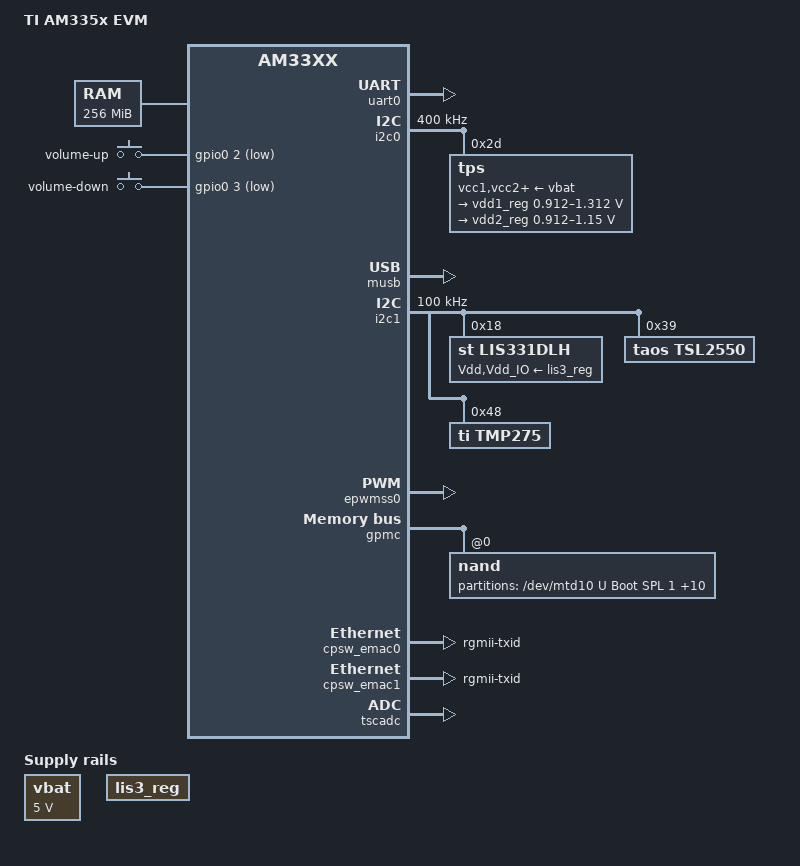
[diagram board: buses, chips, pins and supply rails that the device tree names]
/*
 * Copyright (C) 2012 Texas Instruments Incorporated - http://www.ti.com/
 *
 * This program is free software; you can redistribute it and/or modify
 * it under the terms of the GNU General Public License version 2 as
 * published by the Free Software Foundation.
 */
/dts-v1/;

#include "am33xx.dtsi"

/ {
	model = "TI AM335x EVM";
	compatible = "ti,am335x-evm", "ti,am33xx";

	cpus {
		cpu@0 {
			cpu0-supply = <&vdd1_reg>;
		};
	};

	memory {
		device_type = "memory";
		reg = <0x80000000 0x10000000>; /* 256 MB */
	};

	am33xx_pinmux: pinmux@44e10800 {
		pinctrl-names = "default";
		pinctrl-0 = <&clkout2_pin, &dcan1_pins, &usb1_pins>;

		usb0_pins: pinmux_usb0_pins {
			pinctrl-single,pins = <
				PAD_USB0_DRVVBUS__USB0_DRVVBUS		(PIN_OUTPUT_PULLDOWN | MUX_MODE0)
			>;
		};

		/* WTH is this actually for ? */
		usb1_pins: pinmux_usb1_pins {
			pinctrl-single,pins = <
				PAD_USB1_DRVVBUS__USB1_DRVVBUS		(PIN_INPUT | MUX_MODE7)
			>;
		};

		i2c0_pins: pinmux_i2c0_pins {
			pinctrl-single,pins = <
				PAD_I2C0_SDA__I2C0_SDA			(PIN_INPUT_PULLUP | MUX_MODE0)
				PAD_I2C0_SCL__I2C0_SCL			(PIN_INPUT_PULLUP | MUX_MODE0)
			>;
		};

		i2c1_pins: pinmux_i2c1_pins {
			pinctrl-single,pins = <
				PAD_UART1_CTSN__I2C1_SDA		(PIN_INPUT_PULLUP | SLEWCTRL_SLOW | MUX_MODE2)
				PAD_UART1_RTSN__I2C_SCL			(PIN_INPUT_PULLUP | SLEWCTRL_SLOW | MUX_MODE2)
			>;
		};

		dcan1_pins: pinmux_dcan1_pins {
			pinctrl-single,pins = <
				PAD_UART1_RXD__DCAN1_TX			(PIN_INPUT_PULLUP | MUX_MODE2)
				PAD_UART1_TXD__DCAN1_RX			(PIN_INPUT_PULLUP | MUX_MODE2)
			>;
		}

		/* Module pin mux for SPI flash */
		spi0_pins: spi0_pins {
			pinctrl-single,pins = <
				PAD_SPI0_SCLK__SPI0_SCLK		(PIN_INPUT_PULLDOWN | MUX_MODE0)
				PAD_SPI0_D0__SPI0_D0			(PIN_INPUT_PULLUP   | MUX_MODE0)
				PAD_SPI0_D1__SPI0_D1			(PIN_INPUT_PULLDOWN | MUX_MODE0)
				PAD_SPI0_CS0__SPI0_CS0			(PIN_INPUT_PULLUP   | MUX_MODE0)
			>;
		}

		uart0_pins: pinmux_uart0_pins {
			pinctrl-single,pins = <
				PAD_UART0_RXD__UART0_RXD		(PIN_INPUT_PULLUP    | MUX_MODE0)
				PAD_UART0_TXD__UART0_TXD		(PIN_OUTPUT_PULLDOWN | MUX_MODE0)
			>;
		};

		clkout2_pin: pinmux_clkout2_pin {
			pinctrl-single,pins = <
				PAD_XDMA_EVENT_INTR1__CLKOUT2		(PIN_OUTPUT_PULLDOWN | MUX_MODE3)
			>;
		};

		nandflash_pins_s0: nandflash_pins_s0 {
			pinctrl-single,pins = <
				PAD_GPMC_AD0__GPMC_AD0			(PIN_INPUT_PULLDOWN | MUX_MODE0)
				PAD_GPMC_AD1__GPMC_AD1			(PIN_INPUT_PULLDOWN | MUX_MODE0)
				PAD_GPMC_AD2__GPMC_AD2			(PIN_INPUT_PULLDOWN | MUX_MODE0)
				PAD_GPMC_AD3__GPMC_AD3			(PIN_INPUT_PULLDOWN | MUX_MODE0)
				PAD_GPMC_AD4__GPMC_AD4			(PIN_INPUT_PULLDOWN | MUX_MODE0)
				PAD_GPMC_AD5__GPMC_AD5			(PIN_INPUT_PULLDOWN | MUX_MODE0)
				PAD_GPMC_AD6__GPMC_AD6			(PIN_INPUT_PULLDOWN | MUX_MODE0)
				PAD_GPMC_AD7__GPMC_AD7			(PIN_INPUT_PULLDOWN | MUX_MODE0)
				PAD_GPMC_AD8__GPMC_AD8			(PIN_INPUT_PULLDOWN | MUX_MODE0)
				PAD_GPMC_AD9__GPMC_AD9			(PIN_INPUT_PULLDOWN | MUX_MODE0)
				PAD_GPMC_AD10__GPMC_AD10		(PIN_INPUT_PULLDOWN | MUX_MODE0)
				PAD_GPMC_AD11__GPMC_AD11		(PIN_INPUT_PULLDOWN | MUX_MODE0)
				PAD_GPMC_AD12__GPMC_AD12		(PIN_INPUT_PULLDOWN | MUX_MODE0)
				PAD_GPMC_AD13__GPMC_AD13		(PIN_INPUT_PULLDOWN | MUX_MODE0)
				PAD_GPMC_AD14__GPMC_AD14		(PIN_INPUT_PULLDOWN | MUX_MODE0)
				PAD_GPMC_AD15__GPMC_AD15		(PIN_INPUT_PULLDOWN | MUX_MODE0)

				PAD_GPMC_A0__GPMC_A0			(PIN_INPUT_PULLDOWN | MUX_MODE0)
				PAD_GPMC_A1__GPMC_A1			(PIN_INPUT_PULLDOWN | MUX_MODE0)
				PAD_GPMC_A2__GPMC_A2			(PIN_INPUT_PULLDOWN | MUX_MODE0)
				PAD_GPMC_A3__GPMC_A3			(PIN_INPUT_PULLDOWN | MUX_MODE0)
				PAD_GPMC_A4__GPMC_A4			(PIN_INPUT_PULLDOWN | MUX_MODE0)
				PAD_GPMC_A5__GPMC_A5			(PIN_INPUT_PULLDOWN | MUX_MODE0)
				PAD_GPMC_A6__GPMC_A6			(PIN_INPUT_PULLDOWN | MUX_MODE0)
				PAD_GPMC_A7__GPMC_A7			(PIN_INPUT_PULLDOWN | MUX_MODE0)
				PAD_GPMC_A8__GPMC_A8			(PIN_INPUT_PULLDOWN | MUX_MODE0)
				PAD_GPMC_A9__GPMC_A9			(PIN_INPUT_PULLDOWN | MUX_MODE0)
				PAD_GPMC_A10__GPMC_A10			(PIN_INPUT_PULLDOWN | MUX_MODE0)
				PAD_GPMC_A11__GPMC_A11			(PIN_INPUT_PULLDOWN | MUX_MODE0)

				PAD_GPMC_WAIT0__GPMC_WAIT0		(PIN_INPUT_PULLUP   | MUX_MODE0)
				PAD_GPMC_WPN__GPMC_WPN			(PIN_INPUT_PULLUP   | MUX_MODE0)

				PAD_GPMC_CSN0__GPMC_CSN0		(PIN_INPUT_PULLUP   | MUX_MODE0)
				PAD_GPMC_CSN1__GPMC_CSN1		(PIN_INPUT_PULLUP   | MUX_MODE0)
				PAD_GPMC_CSN2__GPMC_CSN2		(PIN_INPUT_PULLUP   | MUX_MODE0)
				PAD_GPMC_CSN3__GPMC_CSN3		(PIN_INPUT_PULLUP   | MUX_MODE0)

				PAD_GPMC_CLK__GPMC_CLK			(PIN_INPUT_PULLDOWN | MUX_MODE0)
				PAD_GPMC_ADVN_ALE__GMPC_ADVN_ALE	(PIN_INPUT_PULLUP   | MUX_MODE0)
				PAD_GPMC_OEN_REN__GMPC_OEN_REN		(PIN_INPUT_PULLUP   | MUX_MODE0)
				PAD_GPMC_WEN__GPMC_WEN			(PIN_INPUT_PULLUP   | MUX_MODE0)
				PAD_GPMC_BEN0_CLE__GPMC_BEN0_CLE	(PIN_INPUT_PULLUP   | MUX_MODE0)
			>;
		};

		ecap0_pins: backlight_pins {
			pinctrl-single,pins = <
				PAD_ECAP0_IN_PWM0_OUT__ECAP0_IN_PWM0_OUT	(0x0 | MUX_MODE0)
			>;
		};

		/* FIXME: old version of eval board */
		cpsw_rmii_default: cpsw_rmii_default {
			pinctrl-single,pins = <
				/* Slave 1 */
				PAD_MII1_TXEN__RGMII1_TCTL		(PIN_OUTPUT_PULLDOWN | MUX_MODE2)
				PAD_MII1_RXDV__RGMII1_RCTL		(PIN_INPUT_PULLDOWN  | MUX_MODE2)
				PAD_MII1_TXD3__RGMII1_TD3		(PIN_OUTPUT_PULLDOWN | MUX_MODE2)
				PAD_MII1_TXD3__RGMII1_TD2		(PIN_OUTPUT_PULLDOWN | MUX_MODE2)
				PAD_MII1_TXD3__RGMII1_TD1		(PIN_OUTPUT_PULLDOWN | MUX_MODE2)
				PAD_MII1_TXD3__RGMII1_TD0		(PIN_OUTPUT_PULLDOWN | MUX_MODE2)
				PAD_MII1_TXCLK__RGMII1_TCLK		(PIN_OUTPUT_PULLDOWN | MUX_MODE2)
				PAD_MII1_RXCLK__RGMII1_RCLK		(PIN_INPUT_PULLDOWN  | MUX_MODE2)
				PAD_MII1_RXD3__RGMII1_RD3		(PIN_INPUT_PULLDOWN  | MUX_MODE2)
				PAD_MII1_RXD3__RGMII1_RD2		(PIN_INPUT_PULLDOWN  | MUX_MODE2)
				PAD_MII1_RXD3__RGMII1_RD1		(PIN_INPUT_PULLDOWN  | MUX_MODE2)
				PAD_MII1_RXD3__RGMII1_RD0		(PIN_INPUT_PULLDOWN  | MUX_MODE2)
			>;
		};

		cpsw_default: cpsw_default {
			pinctrl-single,pins = <
				/* Slave 1 */
				PAD_MII1_RXERR_MII1_RXERR		(PIN_INPUT_PULLDOWN | MUX_MODE0)
				PAD_MII1_TXEN__MII1_TXEN		(PIN_OUTPUT         | MUX_MODE0)
				PAD_MII1_RXDV__MII1_RXDV		(PIN_INPUT_PULLDOWN | MUX_MODE0)
				PAD_MII1_TXD3__MII1_TXD3		(PIN_OUTPUT         | MUX_MODE0)
				PAD_MII1_TXD2__MII1_TXD2		(PIN_OUTPUT         | MUX_MODE0)
				PAD_MII1_TXD1__MII1_TXD1		(PIN_OUTPUT         | MUX_MODE0)
				PAD_MII1_TXD0__MII1_TXD0		(PIN_OUTPUT         | MUX_MODE0)
				PAD_MII1_TXCLK__MII1_TXCLK		(PIN_INPUT_PULLDOWN | MUX_MODE0)
				PAD_MII1_RXCLK__MII1_RXCLK		(PIN_INPUT_PULLDOWN | MUX_MODE0)
				PAD_MII1_RXD3__MII1_RXD3		(PIN_INPUT_PULLDOWN | MUX_MODE0)
				PAD_MII1_RXD2__MII1_RXD2		(PIN_INPUT_PULLDOWN | MUX_MODE0)
				PAD_MII1_RXD1__MII1_RXD1		(PIN_INPUT_PULLDOWN | MUX_MODE0)
				PAD_MII1_RXD0__MII1_RXD0		(PIN_INPUT_PULLDOWN | MUX_MODE0)
				// FIXME: move to davinci_mdio_default ?
				PAD_MDIO_DATA__MDIO_DATA		(PIN_INPUT_PULLUP   | MUX_MODE0)
				PAD_MDIO_CLK__MDIO_CLK			(PIN_OUTPUT_PULLUP  | MUX_MODE0)
			>;
		};

		cpsw_sleep: cpsw_sleep {
			pinctrl-single,pins = <
				/* Slave 1 reset value */
				PAD_MII1_TXEN__MII1_TXEN		(PIN_INPUT_PULLDOWN | MUX_MODE7)
				PAD_MII1_RXDV__MII1_RXDV		(PIN_INPUT_PULLDOWN | MUX_MODE7)
				PAD_MII1_TXD3__MII1_TXD3		(PIN_INPUT_PULLDOWN | MUX_MODE7)
				PAD_MII1_TXD2__MII1_TXD2		(PIN_INPUT_PULLDOWN | MUX_MODE7)
				PAD_MII1_TXD1__MII1_TXD1		(PIN_INPUT_PULLDOWN | MUX_MODE7)
				PAD_MII1_TXD0__MII1_TXD0		(PIN_INPUT_PULLDOWN | MUX_MODE7)
				PAD_MII1_TXCLK__MII1_TXCLK		(PIN_INPUT_PULLDOWN | MUX_MODE7)
				PAD_MII1_RXCLK__MII1_RXCLK		(PIN_INPUT_PULLDOWN | MUX_MODE7)
				PAD_MII1_RXD3__MII1_RXD3		(PIN_INPUT_PULLDOWN | MUX_MODE7)
				PAD_MII1_RXD2__MII1_RXD2		(PIN_INPUT_PULLDOWN | MUX_MODE7)
				PAD_MII1_RXD1__MII1_RXD1		(PIN_INPUT_PULLDOWN | MUX_MODE7)
				PAD_MII1_RXD0__MII1_RXD0		(PIN_INPUT_PULLDOWN | MUX_MODE7)
			>;
		};

		davinci_mdio_default: davinci_mdio_default {
			pinctrl-single,pins = <
				/* MDIO */
				PAD_MDIO_DATA__MDIO_DATA		(PIN_INPUT_PULLUP  | SLEWCTRL_FAST | MUX_MODE0)
				PAD_MDIO_CLK__MDIO_CLK			(PIN_OUTPUT_PULLUP | MUX_MODE0)
			>;
		};

		davinci_mdio_sleep: davinci_mdio_sleep {
			pinctrl-single,pins = <
				/* MDIO reset value */
				PAD_MDIO_DATA__MDIO_DATA		(PIN_INPUT_PULLDOWN | MUX_MODE7)
				PAD_MDIO_CLK__MDIO_CLK			(PIN_INPUT_PULLDOWN | MUX_MODE7)
			>;
		};
	};

	ocp {
		uart0: serial@44e09000 {
			pinctrl-names = "default";
			pinctrl-0 = <&uart0_pins>;

			status = "okay";
		};

		i2c0: i2c@44e0b000 {
			pinctrl-names = "default";
			pinctrl-0 = <&i2c0_pins>;

			status = "okay";
			clock-frequency = <400000>;

			tps: tps@2d {
				reg = <0x2d>;
			};
		};

		musb: usb@47400000 {
			status = "okay";

			control@44e10000 {
				status = "okay";
			};

			usb-phy@47401300 {
				status = "okay";
			};

			usb-phy@47401b00 {
				status = "okay";
			};

			usb@47401000 {
				status = "okay";
			};

			usb@47401800 {
				status = "okay";
				dr_mode = "host";
			};

			dma-controller@07402000  {
				status = "okay";
			};
		};

		i2c1: i2c@4802a000 {
			pinctrl-names = "default";
			pinctrl-0 = <&i2c1_pins>;

			status = "okay";
			clock-frequency = <100000>;

			lis331dlh: lis331dlh@18 {
				compatible = "st,lis331dlh", "st,lis3lv02d";
				reg = <0x18>;
				Vdd-supply = <&lis3_reg>;
				Vdd_IO-supply = <&lis3_reg>;

				st,click-single-x;
				st,click-single-y;
				st,click-single-z;
				st,click-thresh-x = <10>;
				st,click-thresh-y = <10>;
				st,click-thresh-z = <10>;
				st,irq1-click;
				st,irq2-click;
				st,wakeup-x-lo;
				st,wakeup-x-hi;
				st,wakeup-y-lo;
				st,wakeup-y-hi;
				st,wakeup-z-lo;
				st,wakeup-z-hi;
				st,min-limit-x = <120>;
				st,min-limit-y = <120>;
				st,min-limit-z = <140>;
				st,max-limit-x = <550>;
				st,max-limit-y = <550>;
				st,max-limit-z = <750>;
			};

			tsl2550: tsl2550@39 {
				compatible = "taos,tsl2550";
				reg = <0x39>;
			};

			tmp275: tmp275@48 {
				compatible = "ti,tmp275";
				reg = <0x48>;
			};
		};

		elm: elm@48080000 {
			status = "okay";
		};

		epwmss0: epwmss@48300000 {
			status = "okay";

			ecap0: ecap@48300100 {
				status = "okay";
				pinctrl-names = "default";
				pinctrl-0 = <&ecap0_pins>;
			};
		};

		gpmc: gpmc@50000000 {
			status = "okay";
			pinctrl-names = "default";
			pinctrl-0 = <&nandflash_pins_s0>;
			ranges = <0 0 0x08000000 0x10000000>;	/* CS0: NAND */
			nand@0,0 {
				reg = <0 0 0>; /* CS0, offset 0 */
				nand-bus-width = <8>;
				ti,nand-ecc-opt = "bch8";
				gpmc,device-nand = "true";
				gpmc,device-width = <1>;
				gpmc,sync-clk-ps = <0>;
				gpmc,cs-on-ns = <0>;
				gpmc,cs-rd-off-ns = <44>;
				gpmc,cs-wr-off-ns = <44>;
				gpmc,adv-on-ns = <6>;
				gpmc,adv-rd-off-ns = <34>;
				gpmc,adv-wr-off-ns = <44>;
				gpmc,we-on-ns = <0>;
				gpmc,we-off-ns = <40>;
				gpmc,oe-on-ns = <0>;
				gpmc,oe-off-ns = <54>;
				gpmc,access-ns = <64>;
				gpmc,rd-cycle-ns = <82>;
				gpmc,wr-cycle-ns = <82>;
				gpmc,wait-on-read = "true";
				gpmc,wait-on-write = "true";
				gpmc,bus-turnaround-ns = <0>;
				gpmc,cycle2cycle-delay-ns = <0>;
				gpmc,clk-activation-ns = <0>;
				gpmc,wait-monitoring-ns = <0>;
				gpmc,wr-access-ns = <40>;
				gpmc,wr-data-mux-bus-ns = <0>;

				#address-cells = <1>;
				#size-cells = <1>;
				elm_id = <&elm>;

				/* MTD partition table */
				partition@0 {
					label = "/dev/mtd10 U Boot SPL 1";
					reg = <0x00000000 0x000080000>;
				};

				partition@1 {
					label = "/dev/mtd11 U-Boot 1";
					reg = <0x00080000 0x00080000>;
				};

				partition@2 {
					label = "/dev/mtd12 U-Boot Env 1_1";
					reg = <0x00100000 0x00080000>;
				};

				partition@3 {
					label = "/dev/mtd13 U-Boot Env 1_2";
					reg = <0x00180000 0x00080000>;
				};

				partition@4 {
					label = "/dev/mtd14 Kernel 1";
					reg = <0x02000000 0x40000000>;
				};

				partition@5 {
					label = "/dev/mtd16 U Boot SPL 2";
					reg = <0x20000000 0x00080000>;
				};

				partition@6 {
					label = "/dev/mtd17 U-Boot 2";
					reg = <0x20080000 0x00080000>;
				};

				partition@7 {
					label = "/dev/mtd18 U-Boot Env 2_1";
					reg = <0x20100000 0x00080000>;
				};

				partition@8 {
					label = "/dev/mtd19 U-Boot Env 2_2";
					reg = <0x20180000 0x00080000>;
				};

				partition@9 {
					label = "/dev/mtd20 Kernel 2";
					reg = <0x20200000 0x00e00000>;
				};

				partition@10 {
					label = "/dev/mtd20 Kernel 2";
					reg = <0x20200000 0x00e00000>;
				};

				partition@10 {
					label = "/dev/mtd21 File System";
					reg = <0x22000000 0x1e000000>;
				};
			};
		};
	};

	vbat: fixedregulator@0 {
		compatible = "regulator-fixed";
		regulator-name = "vbat";
		regulator-min-microvolt = <5000000>;
		regulator-max-microvolt = <5000000>;
		regulator-boot-on;
	};

	lis3_reg: fixedregulator@1 {
		compatible = "regulator-fixed";
		regulator-name = "lis3_reg";
		regulator-boot-on;
	};

	gpio_keys: volume_keys@0 {
		compatible = "gpio-keys";
		#address-cells = <1>;
		#size-cells = <0>;
		autorepeat;

		switch@9 {
			label = "volume-up";
			linux,code = <115>;
			gpios = <&gpio0 2 GPIO_ACTIVE_LOW>;
			gpio-key,wakeup;
		};

		switch@10 {
			label = "volume-down";
			linux,code = <114>;
			gpios = <&gpio0 3 GPIO_ACTIVE_LOW>;
			gpio-key,wakeup;
		};
	};
};

#include "tps65910.dtsi"

&tps {
	vcc1-supply = <&vbat>;
	vcc2-supply = <&vbat>;
	vcc3-supply = <&vbat>;
	vcc4-supply = <&vbat>;
	vcc5-supply = <&vbat>;
	vcc6-supply = <&vbat>;
	vcc7-supply = <&vbat>;
	vccio-supply = <&vbat>;

	regulators {
		vrtc_reg: regulator@0 {
			regulator-always-on;
		};

		vio_reg: regulator@1 {
			regulator-always-on;
		};

		vdd1_reg: regulator@2 {
			/* VDD_MPU voltage limits 0.95V - 1.26V with +/-4% tolerance */
			regulator-name = "vdd_mpu";
			regulator-min-microvolt = <912500>;
			regulator-max-microvolt = <1312500>;
			regulator-boot-on;
			regulator-always-on;
		};

		vdd2_reg: regulator@3 {
			/* VDD_CORE voltage limits 0.95V - 1.1V with +/-4% tolerance */
			regulator-name = "vdd_core";
			regulator-min-microvolt = <912500>;
			regulator-max-microvolt = <1150000>;
			regulator-boot-on;
			regulator-always-on;
		};

		vdd3_reg: regulator@4 {
			regulator-always-on;
		};

		vdig1_reg: regulator@5 {
			regulator-always-on;
		};

		vdig2_reg: regulator@6 {
			regulator-always-on;
		};

		vpll_reg: regulator@7 {
			regulator-always-on;
		};

		vdac_reg: regulator@8 {
			regulator-always-on;
		};

		vaux1_reg: regulator@9 {
			regulator-always-on;
		};

		vaux2_reg: regulator@10 {
			regulator-always-on;
		};

		vaux33_reg: regulator@11 {
			regulator-always-on;
		};

		vmmc_reg: regulator@12 {
			regulator-always-on;
		};
	};
};

&mac {
	pinctrl-names = "default", "sleep";
	pinctrl-0 = <&cpsw_default>;
	pinctrl-1 = <&cpsw_sleep>;
};

&davinci_mdio {
	pinctrl-names = "default", "sleep";
	pinctrl-0 = <&davinci_mdio_default>;
	pinctrl-1 = <&davinci_mdio_sleep>;
};

&cpsw_emac0 {
	phy_id = <&davinci_mdio>, <0>;
	phy-mode = "rgmii-txid";
};

&cpsw_emac1 {
	phy_id = <&davinci_mdio>, <1>;
	phy-mode = "rgmii-txid";
};

&tscadc {
	status = "okay";
	tsc {
		ti,wires = <4>;
		ti,x-plate-resistance = <200>;
		ti,coordiante-readouts = <5>;
		ti,wire-config = <0x00 0x11 0x22 0x33>;
	};

	adc {
		ti,adc-channels = <4 5 6 7>;
	};
};
